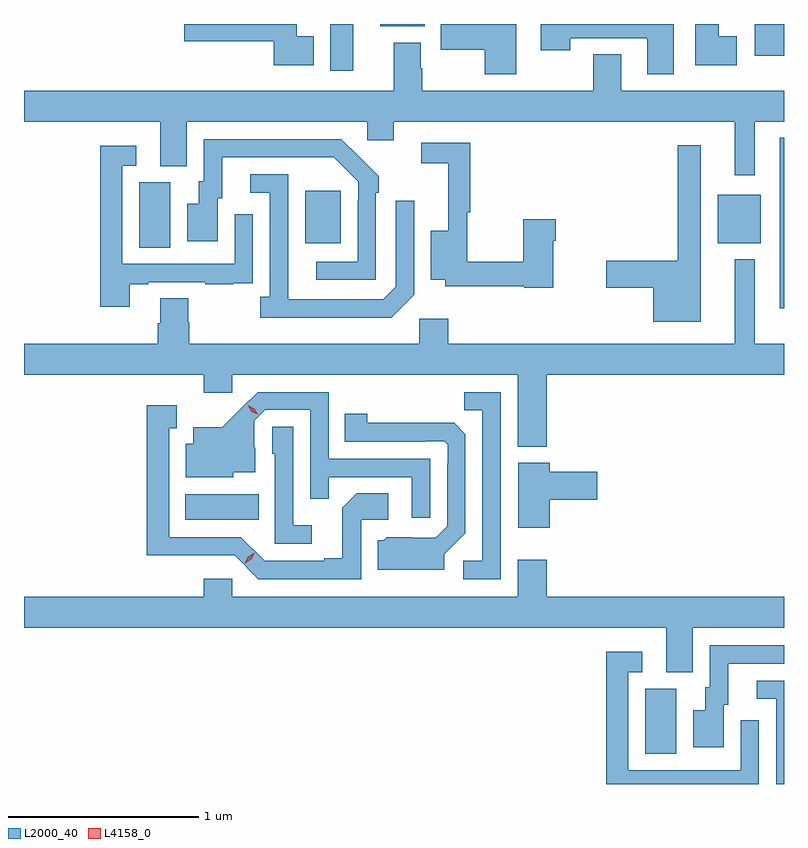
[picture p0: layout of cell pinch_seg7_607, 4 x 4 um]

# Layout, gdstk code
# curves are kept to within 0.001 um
import gdstk
lib = gdstk.Library(unit=1e-6, precision=1e-09)
def R(c, l, rs):  # rectangles x0, y0, x1, y1
    for r in rs: c.add(gdstk.rectangle(r[:2], r[2:], *l))
def P(c, l, *ps):  # polygons
    for p in ps: c.add(gdstk.Polygon(p, *l))
L2000_40 = (2000, 40)
L4158_0 = (4158, 0)

pinch_seg7_607 = lib.new_cell('pinch_seg7_607')
R(pinch_seg7_607, L2000_40, [(123.584,1013.272,123.748,1013.616), (121.163,1014.506,121.55,1014.64), (124.292,1015.619,124.314,1016.515), (120.92,1015.936,121.084,1016.28), (121.793,1015.961,121.981,1016.236), (123.965,1015.961,124.192,1016.215), (121.925,1016.868,122.047,1017.114), (124.16,1016.946,124.314,1017.114), (122.189,1017.101,122.422,1017.114)])
P(pinch_seg7_607, L2000_40, [(123.733,1017.114),(123.033,1017.114),(123.033,1016.976),(123.189,1016.976),(123.189,1017.039),(123.593,1017.039),(123.593,1016.85),(123.733,1016.85)],
  [(124.066,1017.049),(123.97,1017.049),(123.97,1017.114),(123.848,1017.114),(123.848,1016.897),(124.066,1016.897)],
  [(121.84,1017.049),(121.75,1017.049),(121.75,1017.114),(121.158,1017.114),(121.158,1017.023),(121.628,1017.023),(121.628,1016.897),(121.84,1016.897)],
  [(122.905,1017.114),(122.508,1017.114),(122.508,1016.978),(122.738,1016.978),(122.738,1016.85),(122.905,1016.85)],
  [(124.159,1016.6),(124.314,1016.6),(124.314,1016.764),(123.457,1016.764),(123.457,1016.954),(123.31,1016.954),(123.31,1016.764),(122.409,1016.764),(122.409,1016.882),(122.401,1016.882),(122.401,1017.016),(122.261,1017.016),(122.261,1016.764),(120.314,1016.764),(120.314,1016.6),(121.031,1016.6),(121.031,1016.365),(121.171,1016.365),(121.171,1016.6),(122.121,1016.6),(122.121,1016.502),(122.26,1016.502),(122.26,1016.6),(124.055,1016.6),(124.055,1016.319),(124.159,1016.319)],
  [(122.166,1016.225),(122.181,1016.225),(122.181,1016.313),(121.984,1016.508),(121.26,1016.508),(121.26,1016.286),(121.235,1016.286),(121.235,1016.167),(121.172,1016.167),(121.172,1015.971),(121.333,1015.971),(121.333,1016.196),(121.357,1016.196),(121.357,1016.412),(121.945,1016.412),(122.073,1016.283),(122.073,1016.183),(122.07,1016.183),(122.07,1015.863),(121.851,1015.863),(121.851,1015.767),(122.166,1015.767)],
  [(123.1,1015.973),(123.113,1015.973),(123.113,1016.086),(122.942,1016.086),(122.942,1015.862),(122.648,1015.862),(122.648,1016.122),(122.663,1016.122),(122.663,1016.49),(122.406,1016.49),(122.406,1016.382),(122.546,1016.382),(122.546,1016.026),(122.456,1016.026),(122.456,1015.769),(122.532,1015.769),(122.532,1015.734),(122.946,1015.734),(122.946,1015.726),(123.1,1015.726)],
  [(123.877,1016.476),(123.756,1016.476),(123.756,1015.868),(123.378,1015.868),(123.378,1015.726),(123.626,1015.726),(123.626,1015.547),(123.877,1015.547)],
  [(120.871,1015.743),(120.967,1015.743),(120.967,1015.755),(121.267,1015.755),(121.267,1015.743),(121.415,1015.743),(121.415,1015.749),(121.517,1015.749),(121.517,1015.858),(121.518,1015.858),(121.518,1016.113),(121.422,1016.113),(121.422,1015.851),(120.831,1015.851),(120.831,1016.367),(120.904,1016.367),(120.904,1016.473),(120.715,1016.473),(120.715,1015.626),(120.871,1015.626)],
  [(122.367,1015.689),(122.367,1016.185),(122.271,1016.185),(122.271,1015.731),(122.205,1015.665),(121.705,1015.665),(121.704,1016.322),(121.506,1016.322),(121.506,1016.226),(121.608,1016.226),(121.608,1015.678),(121.557,1015.678),(121.557,1015.568),(122.246,1015.568)],
  [(123.065,1015.268),(124.314,1015.268),(124.314,1015.432),(124.159,1015.432),(124.159,1015.876),(124.055,1015.876),(124.055,1015.432),(122.546,1015.432),(122.546,1015.564),(122.394,1015.564),(122.394,1015.432),(121.184,1015.432),(121.184,1015.545),(121.179,1015.545),(121.179,1015.67),(121.031,1015.67),(121.031,1015.538),(121.019,1015.538),(121.019,1015.432),(120.314,1015.432),(120.314,1015.268),(121.259,1015.268),(121.259,1015.173),(121.41,1015.173),(121.41,1015.268),(122.912,1015.268),(122.912,1014.89),(123.065,1014.89)],
  [(122.451,1014.825),(121.917,1014.825),(121.917,1015.176),(121.544,1015.176),(121.357,1014.991),(121.205,1014.991),(121.205,1014.904),(121.166,1014.904),(121.166,1014.728),(121.416,1014.728),(121.416,1014.755),(121.531,1014.755),(121.531,1014.884),(121.527,1014.884),(121.527,1015.026),(121.584,1015.083),(121.821,1015.083),(121.821,1014.616),(121.919,1014.616),(121.919,1014.729),(122.355,1014.729),(122.355,1014.516),(122.451,1014.516)],
  [(122.823,1015.176),(122.632,1015.176),(122.632,1015.081),(122.727,1015.081),(122.727,1014.288),(122.625,1014.288),(122.625,1014.192),(122.823,1014.192)],
  [(122.088,1014.504),(122.23,1014.504),(122.23,1014.644),(122.065,1014.644),(121.989,1014.568),(121.989,1014.301),(121.895,1014.301),(121.895,1014.288),(121.581,1014.288),(121.455,1014.414),(121.078,1014.414),(121.078,1014.987),(121.117,1014.987),(121.117,1015.108),(120.96,1015.108),(120.96,1014.317),(121.422,1014.318),(121.548,1014.192),(122.088,1014.192)],
  [(122.527,1014.324),(122.637,1014.434),(122.637,1014.956),(122.578,1015.015),(122.121,1015.016),(122.121,1015.063),(122.002,1015.063),(122.002,1014.915),(122.426,1014.915),(122.426,1014.918),(122.526,1014.918),(122.544,1014.9),(122.544,1014.8),(122.541,1014.8),(122.541,1014.471),(122.481,1014.411),(122.224,1014.412),(122.208,1014.396),(122.177,1014.396),(122.177,1014.242),(122.527,1014.242)],
  [(121.828,1014.475),(121.731,1014.475),(121.731,1014.995),(121.62,1014.995),(121.62,1014.852),(121.635,1014.852),(121.635,1014.378),(121.828,1014.378)],
  [(123.082,1014.611),(123.331,1014.611),(123.331,1014.758),(123.082,1014.758),(123.082,1014.805),(122.915,1014.805),(122.915,1014.462),(123.082,1014.462)],
  [(123.835,1013.936),(124.314,1013.936),(124.314,1014.1),(123.065,1014.1),(123.065,1014.295),(122.912,1014.295),(122.912,1014.1),(121.41,1014.1),(121.41,1014.193),(121.259,1014.193),(121.259,1014.1),(120.314,1014.1),(120.314,1013.936),(123.695,1013.936),(123.695,1013.701),(123.835,1013.701)],
  [(123.997,1013.532),(124.021,1013.532),(124.021,1013.748),(124.314,1013.748),(124.314,1013.844),(123.924,1013.844),(123.924,1013.622),(123.899,1013.622),(123.899,1013.503),(123.836,1013.503),(123.836,1013.307),(123.997,1013.307)],
  [(124.181,1013.194),(124.182,1013.194),(124.182,1013.449),(124.086,1013.449),(124.086,1013.187),(123.495,1013.187),(123.495,1013.703),(123.568,1013.703),(123.568,1013.809),(123.379,1013.809),(123.379,1013.114),(124.181,1013.114)],
  [(124.314,1013.658),(124.17,1013.658),(124.17,1013.562),(124.272,1013.562),(124.272,1013.114),(124.314,1013.114)])
P(pinch_seg7_607, L4158_0, [(121.544,1015.059),(121.513,1015.074),(121.495,1015.104),(121.495,1015.104),(121.496,1015.104),(121.527,1015.089),(121.544,1015.059),(121.544,1015.059)],
  [(121.477,1014.277),(121.477,1014.277),(121.494,1014.31),(121.525,1014.33),(121.526,1014.33),(121.526,1014.33),(121.509,1014.297),(121.478,1014.277)])

lib.write_gds('pinch_seg7_607.gds')
